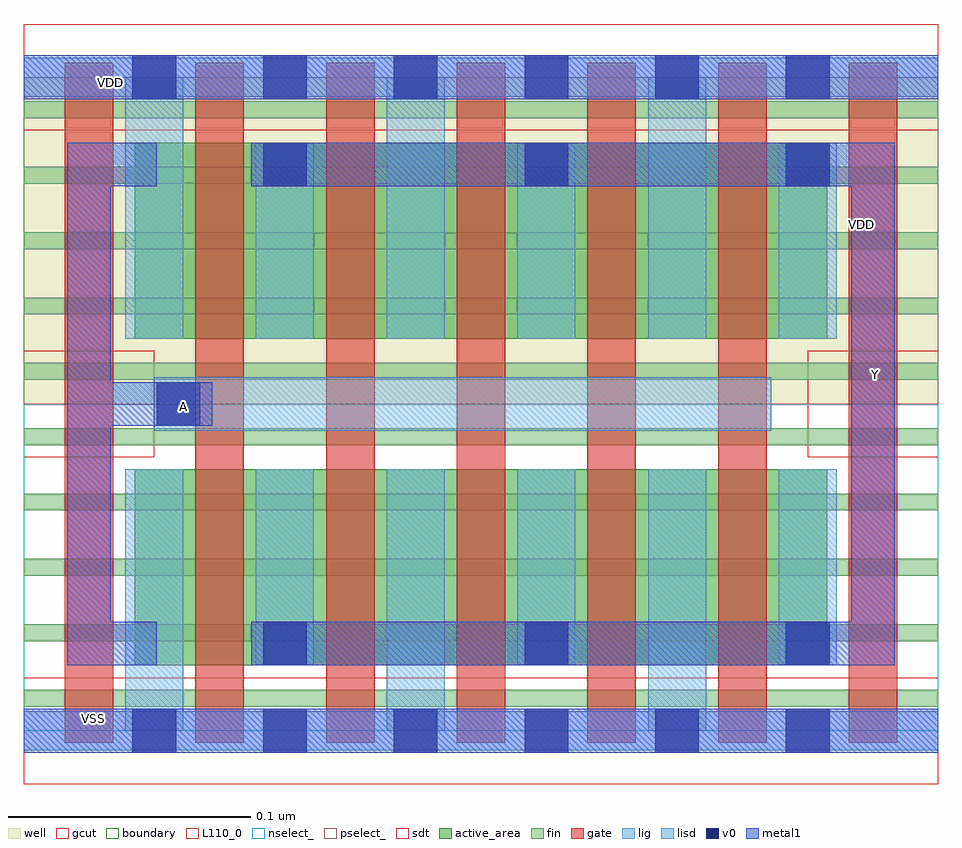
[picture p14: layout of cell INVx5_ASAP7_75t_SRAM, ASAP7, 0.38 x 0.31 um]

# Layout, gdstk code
import gdstk
lib = gdstk.Library(unit=1e-6, precision=1e-09)
def R(c, l, rs):  # rectangles x0, y0, x1, y1
    for r in rs: c.add(gdstk.rectangle(r[:2], r[2:], *l))
def A(c, l, x, y, w, h, nx, ny, dx, dy):  # array of equal rectangles
    R(c, l, [(x+i*dx, y+j*dy, x+i*dx+w, y+j*dy+h) for i in range(nx) for j in range(ny)])
def P(c, l, *ps):  # polygons
    for p in ps: c.add(gdstk.Polygon(p, *l))
well = (1, 0)
fin = (2, 0)
gate = (7, 0)
gcut = (10, 0)
active_area = (11, 0)
nselect_ = (12, 0)
pselect_ = (13, 0)
lig = (16, 0)
lisd = (17, 0)
v0 = (18, 0)
metal1 = (19, 0)
sdt = (88, 0)
boundary = (100, 0)
L110_0 = (110, 0)

invx5_asap7_75t_sram = lib.new_cell('INVx5_ASAP7_75t_SRAM')
R(invx5_asap7_75t_sram, well, [(0,0.135,0.378,0.27)])
A(invx5_asap7_75t_sram, fin, 0, 0.01, 0.378, 0.007, 1, 10, 0, 0.027)
A(invx5_asap7_75t_sram, gate, 0.017, -0.005, 0.02, 0.281, 7, 1, 0.054, 0)
R(invx5_asap7_75t_sram, gcut, [(0,-0.022,0.378,0.022), (0,0.113,0.054,0.157), (0.324,0.113,0.378,0.157), (0,0.248,0.378,0.292)])
R(invx5_asap7_75t_sram, active_area, [(0.046,0.027,0.332,0.108), (0.046,0.162,0.332,0.243)])
R(invx5_asap7_75t_sram, nselect_, [(0,0,0.378,0.135)])
R(invx5_asap7_75t_sram, pselect_, [(0,0.135,0.378,0.27)])
R(invx5_asap7_75t_sram, lig, [(0,-0.008,0.378,0.008), (0.054,0.124,0.309,0.146), (0,0.262,0.378,0.278)])
A(invx5_asap7_75t_sram, lisd, 0.042, 0, 0.024, 0.108, 3, 2, 0.108, 0.162)
A(invx5_asap7_75t_sram, lisd, 0.096, 0.027, 0.024, 0.081, 3, 2, 0.108, 0.135)
A(invx5_asap7_75t_sram, v0, 0.045, -0.009, 0.018, 0.018, 6, 2, 0.054, 0.27)
A(invx5_asap7_75t_sram, v0, 0.099, 0.027, 0.018, 0.018, 3, 2, 0.108, 0.198)
R(invx5_asap7_75t_sram, v0, [(0.055,0.126,0.073,0.144)])
R(invx5_asap7_75t_sram, metal1, [(0,-0.009,0.378,0.009), (0,0.261,0.378,0.279)])
P(invx5_asap7_75t_sram, metal1, [(0.078,0.144),(0.036,0.144),(0.036,0.225),(0.055,0.225),(0.055,0.243),(0.018,0.243),(0.018,0.027),(0.055,0.027),(0.055,0.045),(0.036,0.045),(0.036,0.126),(0.078,0.126)],
  [(0.36,0.243),(0.094,0.243),(0.094,0.225),(0.342,0.225),(0.342,0.045),(0.094,0.045),(0.094,0.027),(0.36,0.027)])
A(invx5_asap7_75t_sram, sdt, 0.042, 0.027, 0.024, 0.081, 6, 2, 0.054, 0.135)
R(invx5_asap7_75t_sram, boundary, [(0,0,0.378,0.27)])
R(invx5_asap7_75t_sram, L110_0, [(0,0,0.378,0.27)])
invx5_asap7_75t_sram.add(gdstk.Label('VDD', (0.346,0.209), layer=1, texttype=251))
invx5_asap7_75t_sram.add(gdstk.Label('VSS', (0.029,0.005), layer=19, texttype=251))
invx5_asap7_75t_sram.add(gdstk.Label('VDD', (0.036,0.268), layer=19, texttype=251))
invx5_asap7_75t_sram.add(gdstk.Label('A', (0.066,0.134), layer=19, texttype=251))
invx5_asap7_75t_sram.add(gdstk.Label('Y', (0.352,0.147), layer=19, texttype=251))
invx5_asap7_75t_sram.add(gdstk.Label('VSS', (0.415,0.208), layer=3, texttype=251))

lib.write_gds('INVx5_ASAP7_75t_SRAM.gds')
